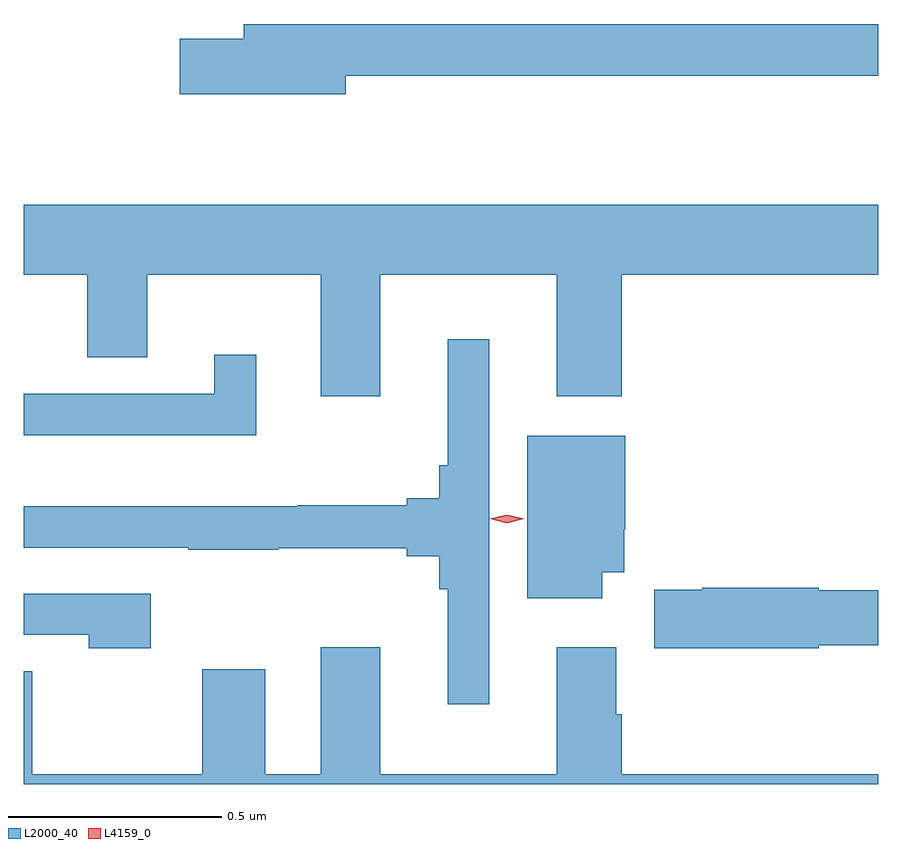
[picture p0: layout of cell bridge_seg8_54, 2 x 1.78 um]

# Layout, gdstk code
import gdstk
lib = gdstk.Library(unit=1e-6, precision=1e-09)
def P(c, l, *ps):  # polygons
    for p in ps: c.add(gdstk.Polygon(p, *l))
L2000_40 = (2000, 40)
L4159_0 = (4159, 0)

bridge_seg8_54 = lib.new_cell('bridge_seg8_54')
P(bridge_seg8_54, L2000_40, [(1083.472,1110.306),(1084.718,1110.306),(1084.718,1110.427),(1083.233,1110.427),(1083.233,1110.393),(1083.084,1110.393),(1083.084,1110.263),(1083.472,1110.263)],
  [(1082.718,1109.84),(1082.867,1109.84),(1082.867,1109.647),(1083.007,1109.647),(1083.007,1109.84),(1083.413,1109.84),(1083.413,1109.556),(1083.553,1109.556),(1083.553,1109.84),(1083.965,1109.84),(1083.965,1109.556),(1084.118,1109.556),(1084.118,1109.84),(1084.718,1109.84),(1084.718,1110.004),(1082.718,1110.004)],
  [(1083.807,1109.689),(1083.71,1109.689),(1083.71,1109.395),(1083.691,1109.395),(1083.691,1109.318),(1083.614,1109.318),(1083.614,1109.301),(1083.358,1109.301),(1083.358,1109.299),(1082.718,1109.299),(1082.718,1109.202),(1083.103,1109.202),(1083.103,1109.197),(1083.314,1109.197),(1083.314,1109.2),(1083.614,1109.2),(1083.614,1109.182),(1083.691,1109.182),(1083.691,1109.105),(1083.71,1109.105),(1083.71,1108.836),(1083.807,1108.836)],
  [(1083.262,1109.653),(1083.164,1109.653),(1083.164,1109.562),(1082.718,1109.562),(1082.718,1109.465),(1083.262,1109.465)],
  [(1084.072,1109.144),(1084.123,1109.144),(1084.123,1109.245),(1084.126,1109.245),(1084.126,1109.464),(1083.896,1109.464),(1083.896,1109.084),(1084.072,1109.084)],
  [(1084.578,1108.974),(1084.718,1108.974),(1084.718,1109.102),(1084.578,1109.102),(1084.578,1109.108),(1084.306,1109.108),(1084.306,1109.104),(1084.194,1109.104),(1084.194,1108.966),(1084.578,1108.966)],
  [(1083.016,1109.094),(1082.718,1109.094),(1082.718,1108.998),(1082.871,1108.998),(1082.871,1108.966),(1083.016,1108.966)],
  [(1084.718,1108.672),(1084.118,1108.672),(1084.118,1108.812),(1084.105,1108.812),(1084.105,1108.969),(1083.965,1108.969),(1083.965,1108.672),(1083.553,1108.672),(1083.553,1108.969),(1083.413,1108.969),(1083.413,1108.672),(1083.283,1108.672),(1083.283,1108.918),(1083.136,1108.918),(1083.136,1108.672),(1082.738,1108.672),(1082.738,1108.913),(1082.718,1108.913),(1082.718,1108.649),(1084.718,1108.649)])
P(bridge_seg8_54, L4159_0, [(1083.849,1109.259),(1083.809,1109.269),(1083.809,1109.269),(1083.809,1109.269),(1083.849,1109.279),(1083.889,1109.269),(1083.889,1109.269),(1083.889,1109.269)])

lib.write_gds('bridge_seg8_54.gds')
